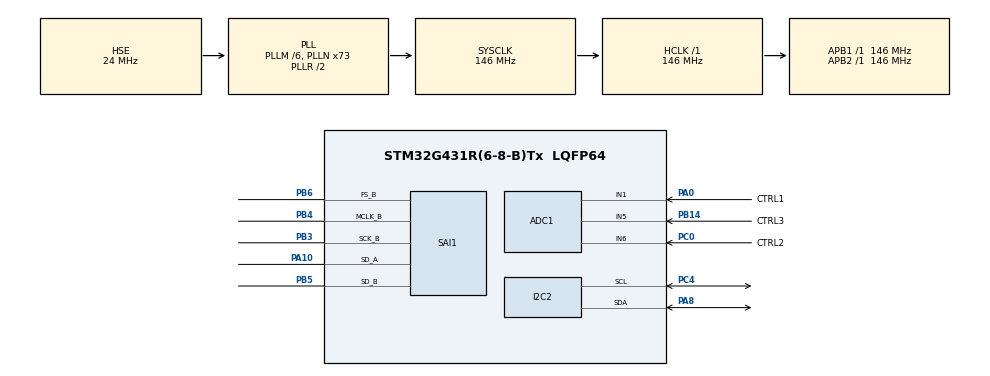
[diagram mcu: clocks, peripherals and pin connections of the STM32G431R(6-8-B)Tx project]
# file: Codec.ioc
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ADC1.Channel-0\#ChannelRegularConversion=ADC_CHANNEL_1
ADC1.NbrOfConversion=1
ADC1.NbrOfConversionFlag=1
ADC1.OffsetNumber-0\#ChannelRegularConversion=ADC_OFFSET_NONE
ADC1.Rank-0\#ChannelRegularConversion=1
ADC1.SamplingTime-0\#ChannelRegularConversion=ADC_SAMPLETIME_2CYCLES_5
ADC1.master=1
Dma.Request0=SAI1_A
Dma.Request1=SAI1_B
Dma.SAI1_A.0.Direction=DMA_PERIPH_TO_MEMORY
Dma.SAI1_A.0.EventEnable=DISABLE
Dma.SAI1_A.0.Instance=DMA1_Channel1
Dma.SAI1_A.0.MemDataAlignment=DMA_MDATAALIGN_WORD
Dma.SAI1_A.0.MemInc=DMA_MINC_ENABLE
Dma.SAI1_A.0.Mode=DMA_CIRCULAR
Dma.SAI1_A.0.PeriphDataAlignment=DMA_PDATAALIGN_WORD
Dma.SAI1_A.0.PeriphInc=DMA_PINC_DISABLE
Dma.SAI1_A.0.Polarity=HAL_DMAMUX_REQ_GEN_RISING
Dma.SAI1_A.0.Priority=DMA_PRIORITY_VERY_HIGH
Dma.SAI1_A.0.RequestNumber=1
Dma.SAI1_A.0.SignalID=NONE
Dma.SAI1_A.0.SyncEnable=DISABLE
Dma.SAI1_A.0.SyncPolarity=HAL_DMAMUX_SYNC_NO_EVENT
Dma.SAI1_A.0.SyncRequestNumber=1
Dma.SAI1_A.0.SyncSignalID=NONE
Dma.SAI1_B.1.Direction=DMA_MEMORY_TO_PERIPH
Dma.SAI1_B.1.EventEnable=DISABLE
Dma.SAI1_B.1.Instance=DMA1_Channel2
Dma.SAI1_B.1.MemDataAlignment=DMA_MDATAALIGN_WORD
Dma.SAI1_B.1.MemInc=DMA_MINC_ENABLE
Dma.SAI1_B.1.Mode=DMA_CIRCULAR
Dma.SAI1_B.1.PeriphDataAlignment=DMA_PDATAALIGN_WORD
Dma.SAI1_B.1.PeriphInc=DMA_PINC_DISABLE
Dma.SAI1_B.1.Polarity=HAL_DMAMUX_REQ_GEN_RISING
Dma.SAI1_B.1.Priority=DMA_PRIORITY_VERY_HIGH
Dma.SAI1_B.1.RequestNumber=1
Dma.SAI1_B.1.SignalID=NONE
Dma.SAI1_B.1.SyncEnable=DISABLE
Dma.SAI1_B.1.SyncPolarity=HAL_DMAMUX_SYNC_NO_EVENT
Dma.SAI1_B.1.SyncRequestNumber=1
Dma.SAI1_B.1.SyncSignalID=NONE
I2C2.Timing=0x30C28FD0
Mcu.Family=STM32G4
Mcu.Name=STM32G431R(6-8-B)Tx
Mcu.Package=LQFP64
NVIC.DMA1_Channel1_IRQn=true\:0\:0\:false\:false\:true\:false\:true\:true
NVIC.DMA1_Channel2_IRQn=true\:0\:0\:false\:false\:true\:false\:true\:true
NVIC.PriorityGroup=NVIC_PRIORITYGROUP_4
NVIC.SAI1_IRQn=true\:0\:0\:false\:false\:true\:true\:true\:true
PA0.GPIO_Label=CTRL1
PA0.Mode=IN1-Single-Ended
PA0.Signal=ADC1_IN1
PA10.Mode=SAI_A_SyncSlave
PA10.Signal=SAI1_SD_A
PA13.GPIO_Label=T_SWDIO
PA13.Mode=Serial_Wire
PA13.Signal=SYS_JTMS-SWDIO
PA14.GPIO_Label=T_SWCLK
PA14.Mode=Serial_Wire
PA14.Signal=SYS_JTCK-SWCLK
PA2.GPIO_Label=LPUART1_TX [STLINKV3E_VCP_RX]
PA2.Signal=LPUART1_TX
PA3.GPIO_Label=LPUART1_RX [STLINKV3E_VCP_TX]
PA3.Signal=LPUART1_RX
PA8.Mode=I2C
PA8.Signal=I2C2_SDA
PB14.GPIO_Label=CTRL3
PB14.Mode=IN5-Single-Ended
PB14.Signal=ADC1_IN5
PB3.GPIO_Speed=GPIO_SPEED_FREQ_HIGH
PB3.Mode=SAI_B_MasterWithClock
PB3.Signal=SAI1_SCK_B
PB4.Mode=SAI_B_MasterWithClock
PB4.Signal=SAI1_MCLK_B
PB5.Mode=SAI_B_MasterWithClock
PB5.Signal=SAI1_SD_B
PB6.Mode=SAI_B_MasterWithClock
PB6.Signal=SAI1_FS_B
PC0.GPIO_Label=CTRL2
PC0.Mode=IN6-Single-Ended
PC0.Signal=ADC1_IN6
PC14-OSC32_IN.GPIO_Label=RCC_OSC32_OUT
PC14-OSC32_IN.Signal=RCC_OSC32_IN
PC15-OSC32_OUT.GPIO_Label=RCC_OSC32_OUT
PC15-OSC32_OUT.Signal=RCC_OSC32_OUT
PC4.Mode=I2C
PC4.Signal=I2C2_SCL
PF0-OSC_IN.GPIO_Label=RCC_OSC_IN
PF0-OSC_IN.Mode=HSE-External-Oscillator
PF0-OSC_IN.Signal=RCC_OSC_IN
PF1-OSC_OUT.GPIO_Label=RCC_OSC_OUT
PF1-OSC_OUT.Mode=HSE-External-Oscillator
PF1-OSC_OUT.Signal=RCC_OSC_OUT
ProjectManager.HeapSize=0x200
ProjectManager.StackSize=0x400
ProjectManager.TargetToolchain=CMake
RCC.ADC12Freq_Value=146000000
RCC.AHBFreq_Value=146000000
RCC.APB1Freq_Value=146000000
RCC.APB1TimFreq_Value=146000000
RCC.APB2Freq_Value=146000000
RCC.APB2TimFreq_Value=146000000
RCC.CortexFreq_Value=146000000
RCC.EXTERNAL_CLOCK_VALUE=12288000
RCC.HCLKFreq_Value=146000000
RCC.HSE_VALUE=24000000
RCC.HSI48_VALUE=48000000
RCC.HSI_VALUE=16000000
RCC.LSE_VALUE=32768
RCC.PLLM=RCC_PLLM_DIV6
RCC.PLLN=73
RCC.PLLQ=RCC_PLLQ_DIV8
RCC.PLLSourceVirtual=RCC_PLLSOURCE_HSE
RCC.RTCClockSelection=RCC_RTCCLKSOURCE_LSE
RCC.SAI1CLockSelection=RCC_SAI1CLKSOURCE_PLL
RCC.SYSCLKFreq_VALUE=146000000
RCC.SYSCLKSource=RCC_SYSCLKSOURCE_PLLCLK
RCC.USBFreq_Value=36500000
RCC.VCOOutputFreq_Value=292000000
SAI1.AudioFrequency-SAI_B_MasterWithClock=SAI_AUDIO_FREQUENCY_MCKDIV
SAI1.InitProtocol-SAI_A_SyncSlave=Enable
SAI1.InitProtocol-SAI_B_MasterWithClock=Enable
SAI1.Instance-SAI_A_SyncSlave=SAI$Index_Block_A
SAI1.Instance-SAI_B_MasterWithClock=SAI$Index_Block_B
SAI1.MckOutput-SAI_B_MasterWithClock=SAI_MCK_OUTPUT_ENABLE
SAI1.MckOverSampling-SAI_B_MasterWithClock=SAI_MCK_OVERSAMPLING_DISABLE
SAI1.Mckdiv-SAI_B_MasterWithClock=12
SAI1.NoDivider-SAI_B_MasterWithClock=SAI_MASTERDIVIDER_DISABLE
SAI1.OutputDrive-SAI_B_MasterWithClock=SAI_OUTPUTDRIVE_DISABLE
SAI1.VirtualMode-SAI_A_SyncSlave=VM_SLAVE
SAI1.VirtualMode-SAI_B_MasterWithClock=VM_MASTER
SAI1.VirtualProtocol-SAI_A_BASIC=VM_BASIC_PROTOCOL
SAI1.VirtualProtocol-SAI_B_BASIC=VM_BASIC_PROTOCOL
VP_CORDIC_VS_CORDIC.Mode=CORDIC_Activate
VP_SAI1_VP_$IpInstance_SAIA_SAI_BASIC.Mode=SAI_A_BASIC
VP_SAI1_VP_$IpInstance_SAIB_SAI_BASIC.Mode=SAI_B_BASIC
VP_SYS_VS_DBSignals.Mode=DisableDeadBatterySignals
board=NUCLEO-G431RB

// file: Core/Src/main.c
/* USER CODE BEGIN Header */
/**
  ******************************************************************************
  * @file           : main.c
  * @brief          : Main program body
  ******************************************************************************
  * @attention
  *
  * Copyright (c) 2026 STMicroelectronics.
  * All rights reserved.
  *
  * This software is licensed under terms that can be found in the LICENSE file
  * in the root directory of this software component.
  * If no LICENSE file comes with this software, it is provided AS-IS.
  *
  ******************************************************************************
  */
/* USER CODE END Header */
#include "main.h"
#include "adc.h"
#include "cordic.h"
#include "dma.h"
#include "i2c.h"
#include "sai.h"
#include "gpio.h"
#include "stm32g4xx_hal_def.h"
#include "stm32g4xx_hal_i2c.h"
#include "stm32g4xx_hal_sai.h"

/* USER CODE BEGIN Includes */
#include "tlv320.c"
#include "string.h"
/* USER CODE END Includes */

/* USER CODE BEGIN PD */
#define AUDIO_BLOCK_SIZE 64 //64 stereo samples per block
#define BUFFER_SIZE (AUDIO_BLOCK_SIZE * 2 * 2) // 2 channels * 2 (two halves) * block size

uint16_t audio_rx_buffer[BUFFER_SIZE]; // DMA target recieve array
uint16_t audio_tx_buffer[BUFFER_SIZE]; // DMA target send array

#define CODEC_ADD 0x30  //I2C address of codec

/* USER CODE END PD */

/* USER CODE BEGIN PFP */
void SystemClock_Config(void);

/* USER CODE END PFP */

int main(void)
{

  /* MCU Configuration--------------------------------------------------------*/

  /* Reset of all peripherals, Initializes the Flash interface and the Systick. */
  HAL_Init();

  /* Configure the system clock */
  SystemClock_Config();

  /* Initialize all configured peripherals */
  MX_GPIO_Init();
  MX_DMA_Init();
  MX_ADC1_Init();
  MX_I2C2_Init();
  MX_SAI1_Init();
  MX_CORDIC_Init();
  /* USER CODE BEGIN 2 */

  //configure I2C of Codec
  TLV320_Program(&hi2c2, CODEC_ADD<<1, tlv320_init_cmds, sizeof(tlv320_init_cmds)/sizeof(tlv320_init_cmds[0]), 100);

  //audio DMA stream setup
  //ensure buffer is 0 to prevent pops and clicks
  memset(audio_tx_buffer,0,BUFFER_SIZE);

  //start reciever DMA(SAI1_A), will idle waiting for master
  HAL_SAI_Receive_DMA(&hsai_BlockA1, (uint8_t*)audio_rx_buffer,  BUFFER_SIZE);

  //start transmitter(SAI1_B), will launch both simultaneously
  HAL_SAI_Transmit_DMA(&hsai_BlockB1, (uint8_t*)audio_tx_buffer, BUFFER_SIZE);

  /* USER CODE END 2 */

  /* Infinite loop */
  while (1)
  {

  }
}

void SystemClock_Config(void)
{
  RCC_OscInitTypeDef RCC_OscInitStruct = {0};
  RCC_ClkInitTypeDef RCC_ClkInitStruct = {0};

  /** Configure the main internal regulator output voltage
  */
  HAL_PWREx_ControlVoltageScaling(PWR_REGULATOR_VOLTAGE_SCALE1);

  /** Initializes the RCC Oscillators according to the specified parameters
  * in the RCC_OscInitTypeDef structure.
  */
  RCC_OscInitStruct.OscillatorType = RCC_OSCILLATORTYPE_HSE;
  RCC_OscInitStruct.HSEState = RCC_HSE_ON;
  RCC_OscInitStruct.PLL.PLLState = RCC_PLL_ON;
  RCC_OscInitStruct.PLL.PLLSource = RCC_PLLSOURCE_HSE;
  RCC_OscInitStruct.PLL.PLLM = RCC_PLLM_DIV6;
  RCC_OscInitStruct.PLL.PLLN = 73;
  RCC_OscInitStruct.PLL.PLLP = RCC_PLLP_DIV2;
  RCC_OscInitStruct.PLL.PLLQ = RCC_PLLQ_DIV8;
  RCC_OscInitStruct.PLL.PLLR = RCC_PLLR_DIV2;
  if (HAL_RCC_OscConfig(&RCC_OscInitStruct) != HAL_OK)
  {
    Error_Handler();
  }

  /** Initializes the CPU, AHB and APB buses clocks
  */
  RCC_ClkInitStruct.ClockType = RCC_CLOCKTYPE_HCLK|RCC_CLOCKTYPE_SYSCLK
                              |RCC_CLOCKTYPE_PCLK1|RCC_CLOCKTYPE_PCLK2;
  RCC_ClkInitStruct.SYSCLKSource = RCC_SYSCLKSOURCE_PLLCLK;
  RCC_ClkInitStruct.AHBCLKDivider = RCC_SYSCLK_DIV1;
  RCC_ClkInitStruct.APB1CLKDivider = RCC_HCLK_DIV1;
  RCC_ClkInitStruct.APB2CLKDivider = RCC_HCLK_DIV1;

  if (HAL_RCC_ClockConfig(&RCC_ClkInitStruct, FLASH_LATENCY_4) != HAL_OK)
  {
    Error_Handler();
  }

}

/* USER CODE BEGIN 4 */

//when DMA fills first half of the RX buffer
void HAL_SAI_RxHalfCpltCallback(SAI_HandleTypeDef *hsai)
{
  //make sure callback is from reciever
  if(hsai->Instance == SAI1_Block_A)
  {
    uint16_t block_bytes = (AUDIO_BLOCK_SIZE*2)*sizeof(uint16_t);

    //audio pass through
    memcpy(&audio_tx_buffer,&audio_rx_buffer,block_bytes);

    //DSP Placeholder
    //process_dsp(&audio_tx_buffer[0],AUDIO_BLOCK_SIZE*2);
  }
}
//when DMA fills second half of RX buffer
void HAL_SAI_RxCpltCallback(SAI_HandleTypeDef *hsai)
{
  if(hsai->Instance == SAI1_Block_A)
  {
    uint16_t block_bytes = (AUDIO_BLOCK_SIZE*2)*sizeof(uint16_t);
    uint16_t offset = AUDIO_BLOCK_SIZE/2; //offset to second half of buffer

    //audio passthrough
    memcpy(&audio_tx_buffer[offset],&audio_rx_buffer[offset],block_bytes);

    //DSP Placeholder
    //process_dsp(&audio_tx_buffer[offset],AUDIO_BLOCK_SIZE*2);

  }
}

/* DSP processing
void process_dsp_example(uint32_t *slot_buffer, uint16_t total_slots)
{
    for (uint16_t i = 0; i < total_slots; i++)
    {
        //extract the active 16 bits (Assuming standard left-alignment)
        int16_t raw_sample = (int16_t)(slot_buffer[i] >> 16);

        //perform your math (e.g., lower the volume by half)
        raw_sample = raw_sample / 2;

        //re-pack back into the 32-bit slot frame
        slot_buffer[i] = ((uint32_t)raw_sample) << 16;
    }
}
*/

/* USER CODE END 4 */

void Error_Handler(void)
{
  __disable_irq();
  while (1)
  {
  }
}
